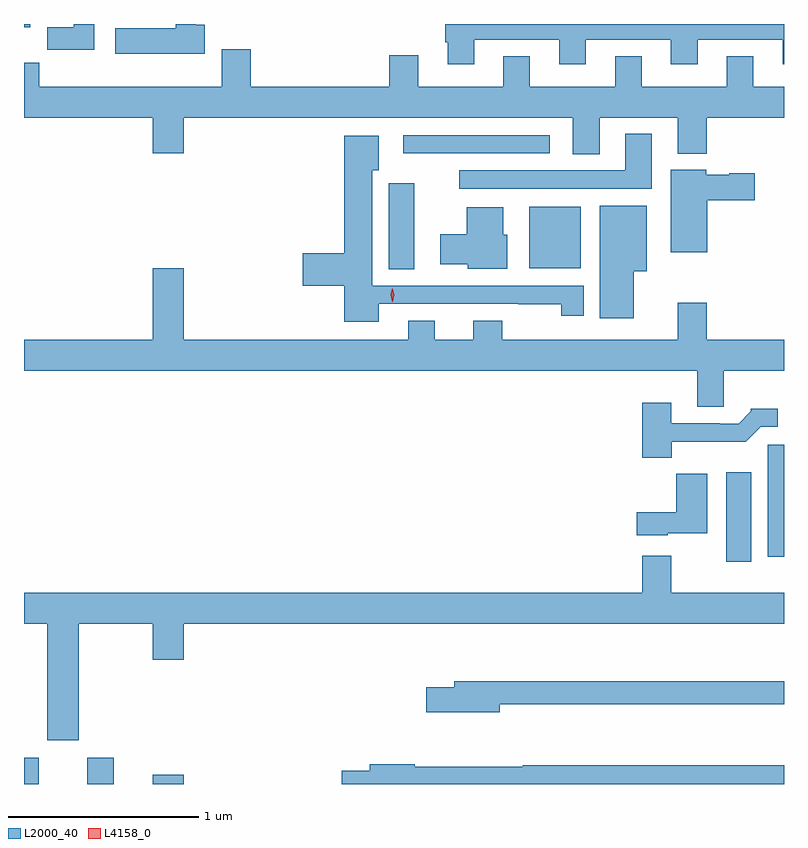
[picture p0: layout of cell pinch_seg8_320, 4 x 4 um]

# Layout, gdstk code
import gdstk
lib = gdstk.Library(unit=1e-6, precision=1e-09)
def R(c, l, rs):  # rectangles x0, y0, x1, y1
    for r in rs: c.add(gdstk.rectangle(r[:2], r[2:], *l))
def P(c, l, *ps):  # polygons
    for p in ps: c.add(gdstk.Polygon(p, *l))
L2000_40 = (2000, 40)
L4158_0 = (4158, 0)

pinch_seg8_320 = lib.new_cell('pinch_seg8_320')
R(pinch_seg8_320, L2000_40, [(595.898,1122.317,595.975,1122.454), (596.231,1122.317,596.371,1122.454), (596.576,1122.317,596.74,1122.367), (599.594,1123.488,599.725,1123.957), (599.813,1123.512,599.898,1124.103), (597.818,1125.025,597.952,1125.478), (598.556,1125.032,598.828,1125.355), (597.894,1125.636,598.666,1125.732), (595.898,1126.301,595.93,1126.317)])
P(pinch_seg8_320, L2000_40, [(598.267,1126.233),(598.715,1126.233),(598.715,1126.104),(598.855,1126.104),(598.855,1126.233),(599.303,1126.233),(599.303,1126.104),(599.443,1126.104),(599.443,1126.233),(599.891,1126.233),(599.891,1126.104),(599.898,1126.104),(599.898,1126.317),(598.115,1126.317),(598.115,1126.221),(598.127,1126.221),(598.127,1126.104),(598.267,1126.104)],
  [(596.269,1126.317),(596.159,1126.317),(596.159,1126.3),(596.02,1126.3),(596.02,1126.182),(596.269,1126.182)],
  [(596.848,1126.314),(596.803,1126.314),(596.803,1126.317),(596.696,1126.317),(596.696,1126.294),(596.379,1126.294),(596.379,1126.16),(596.848,1126.16)],
  [(598.927,1125.824),(599.339,1125.824),(599.339,1125.635),(599.492,1125.635),(599.492,1125.824),(599.898,1125.824),(599.898,1125.988),(599.737,1125.988),(599.737,1126.148),(599.597,1126.148),(599.597,1125.988),(599.149,1125.988),(599.149,1126.148),(599.009,1126.148),(599.009,1125.988),(598.561,1125.988),(598.561,1126.148),(598.421,1126.148),(598.421,1125.988),(597.973,1125.988),(597.973,1126.153),(597.821,1126.153),(597.821,1125.988),(597.092,1125.988),(597.092,1126.183),(596.939,1126.183),(596.939,1125.988),(595.979,1125.988),(595.979,1126.112),(595.898,1126.112),(595.898,1125.824),(596.576,1125.824),(596.576,1125.636),(596.74,1125.636),(596.74,1125.824),(598.787,1125.824),(598.787,1125.631),(598.927,1125.631)],
  [(599.203,1125.739),(599.063,1125.739),(599.063,1125.546),(598.188,1125.546),(598.188,1125.45),(599.203,1125.45)],
  [(597.766,1124.844),(598.498,1124.844),(598.498,1124.843),(598.726,1124.843),(598.726,1124.781),(598.843,1124.781),(598.843,1124.94),(597.73,1124.94),(597.73,1125.548),(597.766,1125.548),(597.766,1125.73),(597.584,1125.73),(597.584,1125.11),(597.366,1125.11),(597.366,1124.939),(597.584,1124.939),(597.584,1124.75),(597.766,1124.75)],
  [(599.494,1125.389),(599.743,1125.389),(599.743,1125.531),(599.61,1125.531),(599.61,1125.523),(599.49,1125.523),(599.49,1125.55),(599.303,1125.55),(599.303,1125.116),(599.494,1125.116)],
  [(599.107,1125.017),(599.176,1125.017),(599.176,1125.361),(598.928,1125.361),(598.928,1124.768),(599.107,1124.768)],
  [(598.441,1125.207),(598.42,1125.207),(598.42,1125.352),(598.229,1125.352),(598.229,1125.211),(598.089,1125.211),(598.089,1125.053),(598.233,1125.053),(598.233,1125.029),(598.441,1125.029)],
  [(599.581,1124.492),(599.898,1124.492),(599.898,1124.656),(599.492,1124.656),(599.492,1124.851),(599.339,1124.851),(599.339,1124.656),(598.415,1124.656),(598.415,1124.755),(598.262,1124.755),(598.262,1124.656),(598.06,1124.656),(598.06,1124.755),(597.92,1124.755),(597.92,1124.656),(596.74,1124.656),(596.74,1125.031),(596.576,1125.031),(596.576,1124.656),(595.898,1124.656),(595.898,1124.492),(599.441,1124.492),(599.441,1124.302),(599.581,1124.302)],
  [(599.308,1124.118),(599.697,1124.118),(599.775,1124.196),(599.866,1124.196),(599.866,1124.293),(599.724,1124.293),(599.724,1124.278),(599.66,1124.214),(599.561,1124.214),(599.561,1124.217),(599.305,1124.217),(599.305,1124.323),(599.153,1124.323),(599.153,1124.033),(599.308,1124.033)],
  [(599.286,1123.637),(599.494,1123.637),(599.494,1123.951),(599.332,1123.951),(599.332,1123.747),(599.124,1123.747),(599.124,1123.625),(599.286,1123.625)],
  [(599.898,1123.324),(599.305,1123.324),(599.305,1123.519),(599.153,1123.519),(599.153,1123.324),(595.898,1123.324),(595.898,1123.16),(596.021,1123.16),(596.021,1122.546),(596.185,1122.546),(596.185,1123.16),(596.576,1123.16),(596.576,1122.972),(596.74,1122.972),(596.74,1123.16),(599.898,1123.16)],
  [(598.402,1122.738),(599.898,1122.738),(599.898,1122.859),(598.163,1122.859),(598.163,1122.825),(598.014,1122.825),(598.014,1122.695),(598.402,1122.695)],
  [(599.898,1122.415),(598.523,1122.415),(598.523,1122.407),(597.954,1122.407),(597.954,1122.422),(597.719,1122.422),(597.719,1122.386),(597.57,1122.386),(597.57,1122.317),(599.898,1122.317)])
P(pinch_seg8_320, L4158_0, [(597.837,1124.855),(597.827,1124.891),(597.836,1124.927),(597.837,1124.927),(597.837,1124.927),(597.847,1124.891),(597.838,1124.855),(597.838,1124.855)])

lib.write_gds('pinch_seg8_320.gds')
